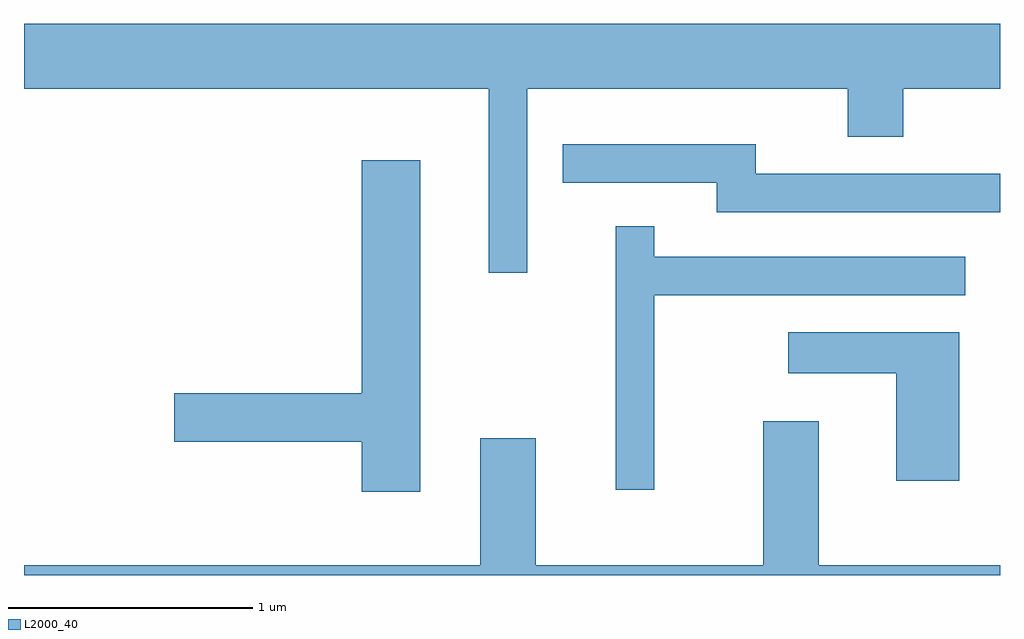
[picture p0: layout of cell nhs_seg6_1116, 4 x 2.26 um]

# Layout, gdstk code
import gdstk
lib = gdstk.Library(unit=1e-6, precision=1e-09)
def P(c, l, *ps):  # polygons
    for p in ps: c.add(gdstk.Polygon(p, *l))
L2000_40 = (2000, 40)

nhs_seg6_1116 = lib.new_cell('nhs_seg6_1116')
P(nhs_seg6_1116, L2000_40, [(219.674,1652.156),(220.986,1652.156),(220.986,1651.961),(221.214,1651.961),(221.214,1652.156),(221.611,1652.156),(221.611,1652.424),(217.611,1652.424),(217.611,1652.156),(219.516,1652.156),(219.516,1651.403),(219.674,1651.403)],
  [(221.611,1651.809),(220.609,1651.809),(220.609,1651.929),(219.818,1651.929),(219.818,1651.771),(220.451,1651.771),(220.451,1651.651),(221.611,1651.651)],
  [(219.234,1651.864),(218.996,1651.864),(218.996,1650.909),(218.226,1650.909),(218.226,1650.711),(218.996,1650.711),(218.996,1650.506),(219.234,1650.506)],
  [(220.194,1651.311),(221.468,1651.311),(221.468,1651.469),(220.194,1651.469),(220.194,1651.593),(220.036,1651.593),(220.036,1650.513),(220.194,1650.513)],
  [(221.444,1651.159),(220.743,1651.159),(220.743,1650.991),(221.186,1650.991),(221.186,1650.551),(221.444,1650.551)],
  [(221.611,1650.204),(220.869,1650.204),(220.869,1650.794),(220.641,1650.794),(220.641,1650.204),(219.709,1650.204),(219.709,1650.724),(219.481,1650.724),(219.481,1650.204),(217.611,1650.204),(217.611,1650.162),(221.611,1650.162)])

lib.write_gds('nhs_seg6_1116.gds')
